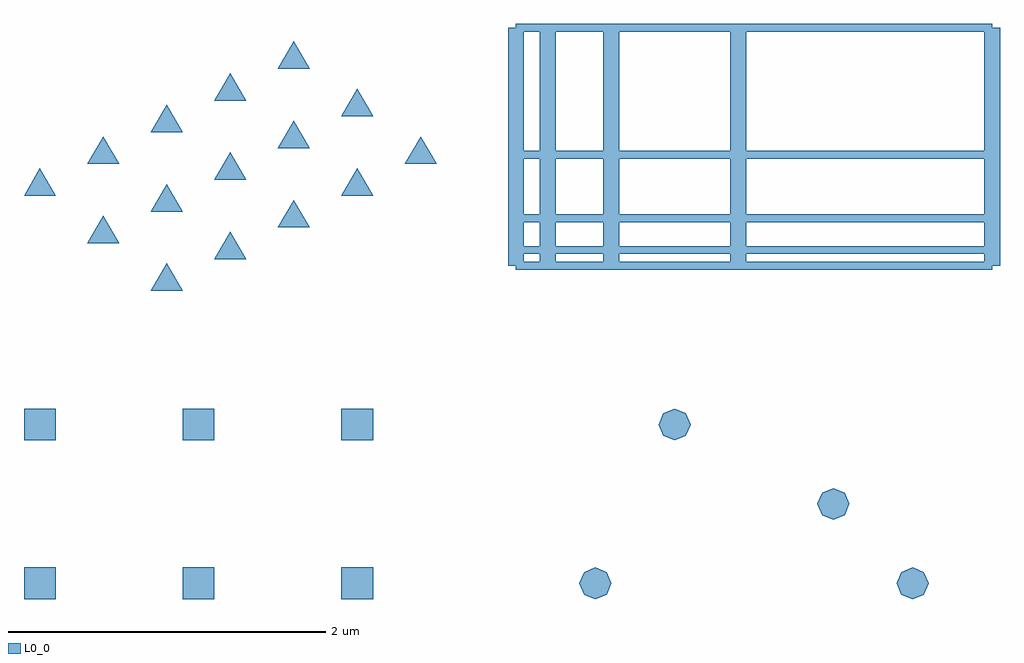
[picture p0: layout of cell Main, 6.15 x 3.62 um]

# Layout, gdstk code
import gdstk
lib = gdstk.Library(unit=1e-6, precision=1e-09)
def R(c, l, rs):  # rectangles x0, y0, x1, y1
    for r in rs: c.add(gdstk.rectangle(r[:2], r[2:], *l))
def A(c, l, x, y, w, h, nx, ny, dx, dy):  # array of equal rectangles
    R(c, l, [(x+i*dx, y+j*dy, x+i*dx+w, y+j*dy+h) for i in range(nx) for j in range(ny)])
def P(c, l, *ps):  # polygons
    for p in ps: c.add(gdstk.Polygon(p, *l))
L0_0 = (0, 0)

main = lib.new_cell('Main')
A(main, L0_0, -0.1, -0.1, 0.2, 0.2, 3, 2, 1, 1)
P(main, L0_0, [(0.1,2.442),(0,2.615),(-0.1,2.442)],
  [(0.5,2.642),(0.4,2.815),(0.3,2.642)],
  [(0.9,2.842),(0.8,3.015),(0.7,2.842)],
  [(1.3,3.042),(1.2,3.215),(1.1,3.042)],
  [(1.7,3.242),(1.6,3.415),(1.5,3.242)],
  [(0.5,2.142),(0.4,2.315),(0.3,2.142)],
  [(0.9,2.342),(0.8,2.515),(0.7,2.342)],
  [(1.3,2.542),(1.2,2.715),(1.1,2.542)],
  [(1.7,2.742),(1.6,2.915),(1.5,2.742)],
  [(2.1,2.942),(2,3.115),(1.9,2.942)],
  [(0.9,1.842),(0.8,2.015),(0.7,1.842)],
  [(1.3,2.042),(1.2,2.215),(1.1,2.042)],
  [(1.7,2.242),(1.6,2.415),(1.5,2.242)],
  [(2.1,2.442),(2,2.615),(1.9,2.442)],
  [(2.5,2.642),(2.4,2.815),(2.3,2.642)],
  [(3.6,0),(3.571,0.071),(3.5,0.1),(3.429,0.071),(3.4,0),(3.429,-0.071),(3.5,-0.1),(3.571,-0.071)],
  [(4.1,1),(4.071,1.071),(4,1.1),(3.929,1.071),(3.9,1),(3.929,0.929),(4,0.9),(4.071,0.929)],
  [(5.6,0),(5.571,0.071),(5.5,0.1),(5.429,0.071),(5.4,0),(5.429,-0.071),(5.5,-0.1),(5.571,-0.071)],
  [(5.1,0.5),(5.071,0.571),(5,0.6),(4.929,0.571),(4.9,0.5),(4.929,0.429),(5,0.4),(5.071,0.429)])
main.add(gdstk.FlexPath([(3,2),(3,3.5)], 0.1, ends="flush", simple_path=True, layer=0, datatype=0))  # L0_0
main.add(gdstk.FlexPath([(3.2,2),(3.2,3.5)], 0.1, ends="flush", simple_path=True, layer=0, datatype=0))  # L0_0
main.add(gdstk.FlexPath([(3.6,2),(3.6,3.5)], 0.1, ends="flush", simple_path=True, layer=0, datatype=0))  # L0_0
main.add(gdstk.FlexPath([(4.4,2),(4.4,3.5)], 0.1, ends="flush", simple_path=True, layer=0, datatype=0))  # L0_0
main.add(gdstk.FlexPath([(6,2),(6,3.5)], 0.1, ends="flush", simple_path=True, layer=0, datatype=0))  # L0_0
main.add(gdstk.FlexPath([(3,2),(3.75,2),(4.5,2),(5.25,2),(6,2)], 0.05, ends="flush", simple_path=True, layer=0, datatype=0))  # L0_0
main.add(gdstk.FlexPath([(3,2.1),(3.75,2.1),(4.5,2.1),(5.25,2.1),(6,2.1)], 0.05, ends="flush", simple_path=True, layer=0, datatype=0))  # L0_0
main.add(gdstk.FlexPath([(3,2.3),(3.75,2.3),(4.5,2.3),(5.25,2.3),(6,2.3)], 0.05, ends="flush", simple_path=True, layer=0, datatype=0))  # L0_0
main.add(gdstk.FlexPath([(3,2.7),(3.75,2.7),(4.5,2.7),(5.25,2.7),(6,2.7)], 0.05, ends="flush", simple_path=True, layer=0, datatype=0))  # L0_0
main.add(gdstk.FlexPath([(3,3.5),(3.75,3.5),(4.5,3.5),(5.25,3.5),(6,3.5)], 0.05, ends="flush", simple_path=True, layer=0, datatype=0))  # L0_0

lib.write_gds('Main.gds')
